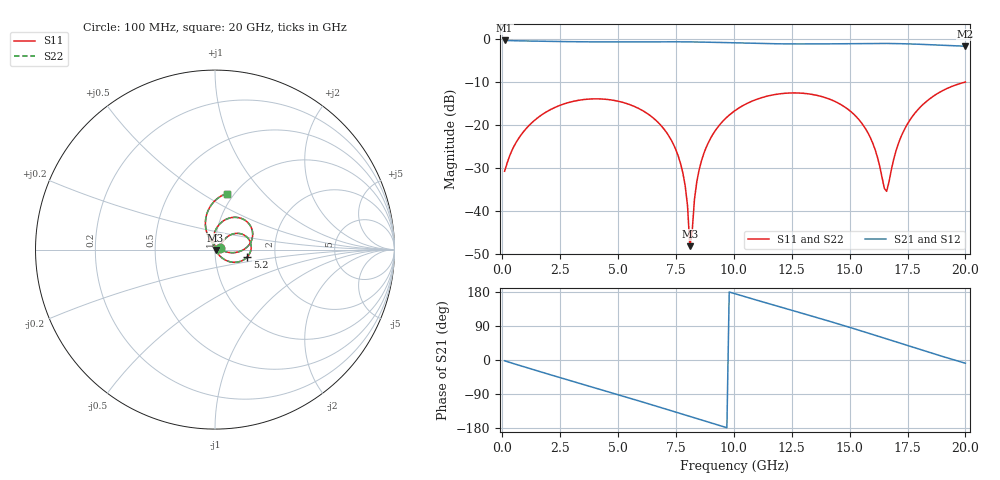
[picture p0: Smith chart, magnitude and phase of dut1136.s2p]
! Touchstone file exported from HFSS 2026.1.0
!  File:  C:/ffzhzh/LocalFiles/Ansys_Project_Files/temp_train_TSV_RDL_1136_1783308362_38820.aedt
!  Generated:  11:38:05 AM Jul  6, 2026
!  Design:  TSV_RDL
!  Project:  temp_train_TSV_RDL_1136_1783308362_38820
! Variables:
!  h_bsmrdl = 3.13um
!  h_ox = 20um
!  h_rdl = 5um
!  h_sub = 97.43um
!  h_tmrdl = 3.88um
!  h_tsv = 97.43um
!  h_via = 3um
!  l_bsmrdl = 917.9um
!  l_sub = 5675.61um
!  l_tmrdl = 598.43um
!  m_sub = 200um
!  pitch = 33.86um
!  r_tsv = 12.26um
!  s_tmrdl = 10um
!  w_bsmrdl = 27.83um
!  w_sub = 500um
!  w_tmrdl = 14.9um
!  x_tsv_center1 = 605.88um
!  x_tsv_center2 = 1551.61um
!  x_tsv_center3 = 2164.94um
!  x_tsv_center4 = 3110.67um
!  x_tsv_center5 = 3724um
!  x_tsv_center6 = 4669.73um
# GHz S MA R 50.000000
! Terminal data exported
! Port[1] = TM_RDL1_1_T1
! Port[2] = TM_RDL5_1_T1
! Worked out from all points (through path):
!   200 points, 100 MHz to 20 GHz, reference 50 ohm
!   highest |S21| = -0.24 dB at 100 MHz (marker M1); lowest = -1.6 dB at 20 GHz (marker M2)
!   group delay of S21, straight-line fit = 51 ps
!   lowest |S11| = -48.2 dB at 8.1 GHz (marker M3), VSWR 1.01, Z = 50.3 - j0.174 ohm
!   |S11| at or under -10 dB: start of sweep to 19.96 GHz
!   |S22| runs from -48.0 to -9.9 dB; largest |S21 - S12| = 1.7e-14
!   S11 on the Smith chart (normalised r, x): 100 MHz: 1.06, +0.02; 5.2 GHz: 1.43, -0.12; 20 GHz: 0.92, +0.64
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0.1  0.02901 20.2  0.9731 -2.1  0.9731 -2.1  0.02901 20.2
! Gamma 0 0 0 0
! Port Impedance 50 0 50 0
0.6  0.06305 45.3  0.9642 -11.7  0.9642 -11.7  0.06305 45.3
1.3  0.1082 45.1  0.9566 -24.6  0.9566 -24.6  0.1082 45.1
3.5  0.1986 15.4  0.9382 -64.6  0.9382 -64.6  0.1986 15.4
5.2  0.1845 -12.9  0.9359 -95.2  0.9359 -95.2  0.1844 -12.8
6.8  0.1028 -40.4  0.9394 -124.6  0.9394 -124.6  0.1027 -40.2
7.7  0.03555 -54.1  0.938 -141.4  0.938 -141.4  0.03552 -53.7
8  0.01147 -51.2  0.9365 -147.0  0.9365 -147.0  0.01147 -50.0
8.1  0.003872 -26.5  0.9359 -148.9  0.9359 -148.9  0.003988 -23.3
8.4  0.02182 103.0  0.9336 -154.5  0.9336 -154.5  0.0219 102.4
8.7  0.04639 100.9  0.9307 -160.2  0.9307 -160.2  0.04645 100.6
9.3  0.09413 91.6  0.9235 -171.3  0.9235 -171.3  0.09418 91.5
10.1  0.1511 78.0  0.912 173.9  0.912 173.9  0.1512 78.0
11.6  0.2229 52.6  0.8922 147.1  0.8922 147.1  0.2229 52.6
13.4  0.2279 22.9  0.8857 115.3  0.8857 115.3  0.2279 22.9
15.4  0.1161 -7.9  0.8974 78.7  0.8974 78.7  0.1161 -7.8
16  0.06154 -11.4  0.8992 67.2  0.8992 67.2  0.06158 -11.2
16.5  0.01827 29.2  0.8983 57.5  0.8983 57.5  0.01855 29.7
16.7  0.02173 90.1  0.8972 53.7  0.8972 53.7  0.02203 89.6
17.1  0.06035 116.6  0.8935 45.9  0.8935 45.9  0.0605 116.3
17.8  0.1358 112.7  0.8828 32.3  0.8828 32.3  0.1359 112.5
20  0.3183 78.3  0.8334 -8.5  0.8334 -8.5  0.3183 78.2
